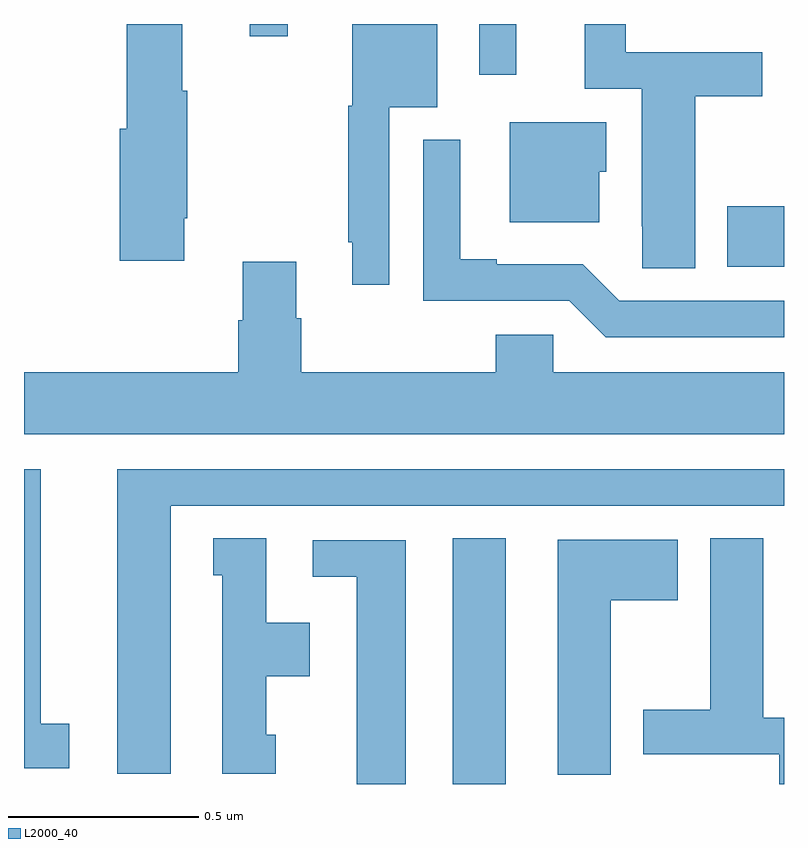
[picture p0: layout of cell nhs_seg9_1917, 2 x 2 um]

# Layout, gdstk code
import gdstk
lib = gdstk.Library(unit=1e-6, precision=1e-09)
def R(c, l, rs):  # rectangles x0, y0, x1, y1
    for r in rs: c.add(gdstk.rectangle(r[:2], r[2:], *l))
def P(c, l, *ps):  # polygons
    for p in ps: c.add(gdstk.Polygon(p, *l))
L2000_40 = (2000, 40)

nhs_seg9_1917 = lib.new_cell('nhs_seg9_1917')
R(nhs_seg9_1917, L2000_40, [(135.128,1195.5,135.268,1196.147), (135.851,1196.861,136,1197.021), (135.198,1197.366,135.296,1197.5), (134.594,1197.468,134.694,1197.5)])
P(nhs_seg9_1917, L2000_40, [(134.961,1197.281),(135.088,1197.281),(135.088,1197.5),(134.864,1197.5),(134.864,1197.285),(134.853,1197.285),(134.853,1196.926),(134.864,1196.926),(134.864,1196.814),(134.961,1196.814)],
  [(135.766,1197.31),(135.943,1197.31),(135.943,1197.426),(135.584,1197.426),(135.584,1197.5),(135.476,1197.5),(135.476,1197.33),(135.626,1197.33),(135.626,1196.968),(135.627,1196.968),(135.627,1196.857),(135.766,1196.857)],
  [(134.422,1196.989),(134.43,1196.989),(134.43,1197.325),(134.416,1197.325),(134.416,1197.5),(134.27,1197.5),(134.27,1197.225),(134.252,1197.225),(134.252,1196.877),(134.422,1196.877)],
  [(135.514,1197.111),(135.532,1197.111),(135.532,1197.241),(135.278,1197.241),(135.278,1196.978),(135.514,1196.978)],
  [(136,1196.772),(135.567,1196.772),(135.471,1196.868),(135.244,1196.868),(135.244,1196.881),(135.148,1196.881),(135.148,1197.196),(135.051,1197.196),(135.051,1196.772),(135.435,1196.772),(135.531,1196.676),(136,1196.676)],
  [(136,1196.584),(135.393,1196.584),(135.393,1196.682),(135.242,1196.682),(135.242,1196.584),(134.729,1196.584),(134.729,1196.726),(134.716,1196.726),(134.716,1196.875),(134.576,1196.875),(134.576,1196.721),(134.564,1196.721),(134.564,1196.584),(134,1196.584),(134,1196.42),(136,1196.42)],
  [(134.386,1196.232),(136,1196.232),(136,1196.328),(134.246,1196.328),(134.246,1195.527),(134.386,1195.527)],
  [(134.119,1195.658),(134.044,1195.658),(134.044,1196.328),(134,1196.328),(134,1195.542),(134.119,1195.542)],
  [(134.662,1195.629),(134.638,1195.629),(134.638,1195.784),(134.752,1195.784),(134.752,1195.924),(134.638,1195.924),(134.638,1196.147),(134.498,1196.147),(134.498,1196.049),(134.522,1196.049),(134.522,1195.527),(134.662,1195.527)],
  [(136,1195.674),(135.946,1195.674),(135.946,1196.036),(135.945,1196.036),(135.945,1196.147),(135.806,1196.147),(135.806,1195.695),(135.629,1195.695),(135.629,1195.578),(135.988,1195.578),(135.988,1195.5),(136,1195.5)],
  [(135.544,1195.984),(135.721,1195.984),(135.721,1196.143),(135.404,1196.143),(135.404,1195.633),(135.405,1195.633),(135.405,1195.525),(135.544,1195.525)],
  [(135.004,1196.142),(134.76,1196.142),(134.76,1196.046),(134.876,1196.046),(134.876,1195.5),(135.004,1195.5)])

lib.write_gds('nhs_seg9_1917.gds')
